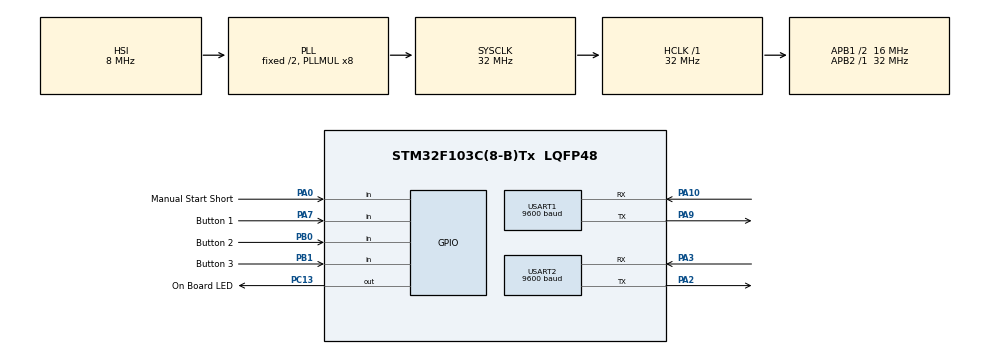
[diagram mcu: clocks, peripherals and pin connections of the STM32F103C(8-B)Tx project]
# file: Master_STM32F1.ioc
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Mcu.Family=STM32F1
Mcu.Name=STM32F103C(8-B)Tx
Mcu.Package=LQFP48
NVIC.PriorityGroup=NVIC_PRIORITYGROUP_4
NVIC.USART1_IRQn=true\:0\:0\:false\:false\:true\:true\:true
NVIC.USART2_IRQn=true\:0\:0\:false\:false\:true\:true\:true
PA0-WKUP.GPIO_Label=Manual Start Short
PA0-WKUP.GPIO_PuPd=GPIO_PULLDOWN
PA0-WKUP.Signal=GPIO_Input
PA10.Mode=Asynchronous
PA10.Signal=USART1_RX
PA13.Mode=Serial_Wire
PA13.Signal=SYS_JTMS-SWDIO
PA14.Mode=Serial_Wire
PA14.Signal=SYS_JTCK-SWCLK
PA2.Mode=Asynchronous
PA2.Signal=USART2_TX
PA3.Mode=Asynchronous
PA3.Signal=USART2_RX
PA7.GPIO_Label=Button 1
PA7.GPIO_PuPd=GPIO_PULLDOWN
PA7.Signal=GPIO_Input
PA9.Mode=Asynchronous
PA9.Signal=USART1_TX
PB0.GPIO_Label=Button 2
PB0.GPIO_PuPd=GPIO_PULLDOWN
PB0.Signal=GPIO_Input
PB1.GPIO_Label=Button 3
PB1.GPIO_PuPd=GPIO_PULLDOWN
PB1.Signal=GPIO_Input
PC13-TAMPER-RTC.GPIO_Label=On Board LED
PC13-TAMPER-RTC.Signal=GPIO_Output
ProjectManager.HeapSize=0x200
ProjectManager.StackSize=0x400
ProjectManager.TargetToolchain=STM32CubeIDE
RCC.AHBFreq_Value=32000000
RCC.APB1CLKDivider=RCC_HCLK_DIV2
RCC.APB1Freq_Value=16000000
RCC.APB1TimFreq_Value=32000000
RCC.APB2Freq_Value=32000000
RCC.APB2TimFreq_Value=32000000
RCC.HCLKFreq_Value=32000000
RCC.PLLMUL=RCC_PLL_MUL8
RCC.SYSCLKFreq_VALUE=32000000
RCC.SYSCLKSource=RCC_SYSCLKSOURCE_PLLCLK
RCC.USBFreq_Value=32000000
TIM1.Period=100
TIM1.Prescaler=32000
TIM2.Period=100
TIM2.Prescaler=32000
USART1.BaudRate=9600
USART1.VirtualMode=VM_ASYNC
USART2.BaudRate=9600
USART2.VirtualMode=VM_ASYNC
VP_TIM1_VS_ClockSourceINT.Mode=Internal
VP_TIM2_VS_ClockSourceINT.Mode=Internal
board=custom

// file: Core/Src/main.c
/* USER CODE BEGIN Header */
/**
  ******************************************************************************
  * @file           : main.c
  * @brief          : Main program body
  ******************************************************************************
  * @attention
  *
  * <h2><center>&copy; Copyright (c) 2021 STMicroelectronics.
  * All rights reserved.</center></h2>
  *
  * This software component is licensed by ST under BSD 3-Clause license,
  * the "License"; You may not use this file except in compliance with the
  * License. You may obtain a copy of the License at:
  *                        opensource.org/licenses/BSD-3-Clause
  *
  ******************************************************************************
  */
/* USER CODE END Header */
#include "main.h"

/* USER CODE BEGIN PTD */

/**
  * @brief 	Struct used for separating screen and slave module.
  */
typedef struct {
	uint8_t msg_i;						/*!< Index for received messages 				*/

	uint8_t msg_en;						/*!< Enable flag to prevent reading while busy 	*/

	uint8_t msg_flag;					/*!< Message flag to indicate a new message 	*/

	uint8_t rec_buff[MSG_MAX_LEN];		/*!< Buffer for the received message			*/

	UART_HandleTypeDef * used_huart;	/*!< Pointer to the UART struct the module uses */
}t_module;

/* USER CODE END PTD */

/* USER CODE BEGIN PD */
/** @defgroup Mode_Select Input/Output of CheckMsg() function
  * @{
  */
#define HALF 					"180\n"		/*!< String that indicates only half of the slaves must be used.	*/

#define HALF_NUM 				1			/*!< Value to indicate half of the buttons are used 			 	*/
#define FULL_NUM 				2			/*!< Value to indicate all  of the buttons are used					*/
#define MANUAL_GPIO				GPIOA		/*!< The GPIO for manual activation of the master					*/
#define MANUAL_PIN				GPIO_PIN_0	/*!< The pin for manual activation of the master					*/
/**
  * @}
  */

/** @defgroup Used_Peripherials Used Peripherals
  * @{
  */
#define SCHERM_UART 			huart1		/*!< UART  peripheral connected to the screen 				*/
#define SLAVE_UART 				huart2		/*!< UART  peripheral connected to the slaves 				*/
#define DEBUG_UART 				huart1		/*!< UART  peripheral connected to debug PC	 				*/
#define MSG_TIM 				htim1		/*!< Timer peripheral used for message timeout checking 	*/
#define LED_TIM 				htim2		/*!< Timer peripheral used for blinking LEDS non-blocking 	*/
/**
  * @}
  */

/** @defgroup Timing_Definitions Delay/Timeout times in ms
  * @{
  */
#define ACK_TIMEOUT 			1000		/*!< How long the master waits for an acknowledge from a slave 			*/
#define SCORE_DELAY 			3000		/*!< How long the master waits for clearing the score					*/
#define START_TIME 				5000		/*!< Initial time the user has to press a button						*/
#define TIME_INCREMENT 			100			/*!< How much every point of score subtracts from the total time the	\
												 user has to press the button										*/
#define NEXT_BT_TIME			500			/*!< The amount of time the master waits between each button activation */
/**
  * @}
  */

/** @defgroup LED_Commands LED Command Definitions
  * @{
  */
#define LED_BLINK 				3			/*!< The command to blink an LED 	*/
#define LED_TOGGLE 				2			/*!< The command to toggle an LED 	*/
#define LED_ON 					0			/*!< The command to turn on an LED	*/
#define LED_OFF 				1			/*!< The command to turn off an LED */
/**
  * @}
  */

/** @defgroup Buffer_Indexes Buffer Indexes for m_buff
  * @{
  */
#define SCHERM_I 				0			/*!< The index for the screen module */
#define SLAVE_I 				1			/*!< The index for the slave module  */
/**
  * @}
  */

/** @defgroup LED_Pin_Definitions LED Pin Definitions
  * @{
  */
#define BLUE_LED 				((uint16_t)0x2000)	/*!< The blue LED pin */
/**
  * @}
  */

/**
 * @enum state_t
 * @brief The various states that the master module can be in.
 *
 */
enum state_t {
	STATE_STR,			/**< Start State				*/
	STATE_ADR,			/**< Addressing State 			*/
	STATE_CHS,			/**< Choosing State			  	*/
	STATE_CTR,			/**< Control and Verify State 	*/
	STATE_ERR,			/**< Error State 				*/
	STATE_END,			/**< Ending State				*/
};

#ifdef DEBUG_UART
#define debug			/*!< Debug enable */
#endif
/* USER CODE END PD */

TIM_HandleTypeDef htim1;
TIM_HandleTypeDef htim2;

UART_HandleTypeDef huart1;
UART_HandleTypeDef huart2;

void SystemClock_Config(void);
static void MX_GPIO_Init(void);
static void MX_USART1_UART_Init(void);
static void MX_USART2_UART_Init(void);
static void MX_TIM1_Init(void);
static void MX_TIM2_Init(void);
/* USER CODE BEGIN PFP */
char CheckTimeout(const char * valid_ans, int timeout);
char SendMessage(const char * msg);
char SendCommand(const char * cmd, const char * ans, int timeout);
void SetLed(uint16_t led_pin, uint8_t state);
char CheckMsg();
char IsAlphaNum(char c);
/* USER CODE END PFP */

/* USER CODE BEGIN 0 */
#ifdef debug
uint8_t tx_debug[12];	// Used only for debugging
#endif

/** @brief rx_buff contains the incoming char */
uint8_t rx_buff[1];
/** @brief blink_pin tells LED timer which pin to turn off */
uint16_t blink_pin;
/** @brief m_buff are the two buffers for screen/slave message handling*/
t_module m_buff[2];

/* USER CODE END 0 */

int main(void)
{

  /* MCU Configuration--------------------------------------------------------*/

  /* Reset of all peripherals, Initializes the Flash interface and the Systick. */
  HAL_Init();

  /* Configure the system clock */
  SystemClock_Config();

  /* Initialize all configured peripherals */
  MX_GPIO_Init();
  MX_USART1_UART_Init();
  MX_USART2_UART_Init();
  MX_TIM1_Init();
  MX_TIM2_Init();
  /* USER CODE BEGIN 2 */
#ifdef DEBUG_UART
#if DEBUG_UART != SCHERM_UART
  HAL_UART_Receive_IT(&DEBUG_UART, rx_buff, 1);
#endif
#endif
  HAL_UART_Receive_IT(&SLAVE_UART, 	rx_buff, 1);
  HAL_UART_Receive_IT(&SCHERM_UART, rx_buff, 1);
  HAL_TIM_Base_Start_IT(&LED_TIM);

  m_buff[SCHERM_I].used_huart = &SCHERM_UART;
  m_buff[SLAVE_I].used_huart  = &SLAVE_UART;

  uint8_t prev_btn		= 0;
  uint8_t no_slaves  	= 0;
  enum state_t state	= STATE_STR;
  uint16_t mode 	 	= FULL_NUM;
  uint8_t score 	 	= 0;
  uint8_t chosen_button = 0;
  char buf[12];
  /**   <h2><center> Supported Commands </h2></center>
   	*   <h3>Addressing</h3>
   	*   Format: 	 <tt>0 ADR 1</tt>\n
   	*   Definitions: @c 0 sends to @b all slaves. @c ADR is the addressing command. @c 1 is the first address.\n\n
   	*   Used to give every slave a specific address down the chain.\n
   	*
   	*   <h3>Turning On Slaves</h3>
   	*   Format: 	 <tt>0 ON adr</tt>\n
   	*   Definitions: @c 0 sends to @b all slaves. @c ON is the turn on command. @c adr specifies which button is correct.\n\n
   	*   This turns on the buttons of all slaves. Only the @c adr slave will have their buzzer ring.\n
   	*
   	*   <h3>Turning Off Slaves</h3>
   	*   Format:		 <tt>0 OFF</tt>\n
   	*   Definitions: @c 0 sends to @b all slaves. @c OFF is the turn off command.\n\n
   	*   			 This command turns off all slaves, used @b AFTER the ON command.\n
   	*   			 In reality, the slaves don't listen to the specific message, any message will do to turn them off.\n
   	*   			 This is to prevent a missed "off" command to put the slave in blocking mode.\n
   	*   			 The alternative would have been to set a timer in the slave to quit.\n
   	*   			 This however decreases the amount of control the master could have over the slaves.\n
   	*   			 This compromise had to be made, so that the master is still in control.\n
   	*
   	*   <h3>Verify Connection</h3>
   	*   Format:		 <tt>adr ASK</tt>\n
   	*   Definitions: @c adr specifies which slave to send the command to. @c ASK is the command.\n\n
   	*   			 This command asks a specific slave to reply with an answer.\n
   	*   			 This is used to verify the slave is still connected.\n
   	*   			 \n\n
   	*
   	*   @attention	 <center><b>New commands have a max length of 3 characters. This can be changed in the slave code.</b></center>
   	*
    */

  //Needs a seed that differs each startup
  //Not as important, as the MCU won't be reset every time a person plays.
  //When the device loses and regains power however, the button sequence will always be the same
  srand(1);

  /* USER CODE END 2 */

  /* Infinite loop */
  while (1)
  {

    /* USER CODE BEGIN 3 */
	switch(state)
	  {
	  /**  <h3>Start State</h3>
	    *  @brief Reads incoming messages from the screen module.
	    *  		  Will switch to addressing state if message is received.
	    *  		  Mode will indicate if full range of buttons is to be used or only half.
	    *  		  Added a way to start the game by pushing the buttons.
	    */
	  case STATE_STR:
		m_buff[SCHERM_I].msg_en = 1;
		mode = CheckMsg();
		if(SendCommand( "0 ON -1\n", "PRESSED", 1000))
			mode = FULL_NUM;
		if(mode != 0)
		{
			state = STATE_ADR;
			m_buff[SCHERM_I].msg_en   = 0;
			m_buff[SCHERM_I].msg_flag = 0;
			SendMessage("0 OFF\n");
			HAL_Delay(NEXT_BT_TIME);
		}
		break;
	  /**  <h3>Addressing State</h3>
		*  @brief Will send a command to give an adress to each slave.
		*  		  If received "slave" back addressing successful.
		*  		  State will move to Choose if successful, Start if failed.
		*/
	  case STATE_ADR:
		if(SendCommand("0 ADR 1\n","SLAVE", ACK_TIMEOUT*2))
		{
			no_slaves = atoi( (char*) &m_buff[SLAVE_I].rec_buff[6]);
			state = STATE_CHS;
		}
		else
			state = STATE_STR;
		break;
	  /**  <h3>Choosing State</h3>
		*  @brief Will choose a random button based on mode.
		*  		  Mode was set by start state earlier.
		*  		  Has a check to make sure there won't be a div/0 error.
		*  		  Next state will be control or start depending on number of slaves.
		*/
	  case STATE_CHS:
		sprintf(buf, "SCORE =%d\r\n", score);
		HAL_UART_Transmit(&SCHERM_UART, (uint8_t *) buf, strlen( (char *) buf), 100);
		if(no_slaves)
		{
			// The +1 makes sure 0 is never a chosen button. Slaves start from address 1.
			// This can be made into a define, if there exists a desire to start from slave 2.
			// In case only one slave connected, then that slave is chosen.
			if(no_slaves == 1 && mode == HALF_NUM)
				chosen_button = 1;
			else
			{
				do
				{
					chosen_button = ( rand() % (mode == FULL_NUM ? no_slaves : no_slaves >> 1))+1;
				}
				while(chosen_button == prev_btn && no_slaves > 1);
				prev_btn = chosen_button;
			}
			state = STATE_CTR;
		}
		else
			state = STATE_STR;
		break;
	  /**  <h3>Control & Verify State</h3>
		*  @brief Controls the chosen button from Choose State.
		*  		  Sends out a message for all buttons to turn on.
		*  		  Specifies the address of chosen button to turn on its speakers.
		*		  Reads which button is pressed, or if a timeout occurred.
		*		  If the correct button is pressed, will choose a new button (state choose).
		*		  If the button was incorrect, will end the game (state end).
		*		  If no button was pressed in time, will verify connection (state error).
		*/
	  case STATE_CTR:
		sprintf(buf, "0 ON %d\n", chosen_button);
		if(SendCommand(buf, "PRESSED", START_TIME - ( score * TIME_INCREMENT) ) )
		{
			// The reply is PRESSED n, so to read the received number the 8th byte will be read.
			// P|R|E|S|S|E|D| |n
			// 0|1|2|3|4|5|6|7|8
			if(atoi( (char *) &m_buff[SLAVE_I].rec_buff[8]) == chosen_button)
			{
				state = STATE_CHS;
				score++;
			}
			else
				state = STATE_END;
		}
		else
			state = STATE_ERR;

		SendMessage("0 OFF\n");
		HAL_Delay(NEXT_BT_TIME);
		break;
	  /**  <h3>Error State</h3>
		*  @brief Error state will verify communication works with the chosen slave.
		*  		  If the slave does not answer to this check, an LED will indicate an error.
		*  		  No matter the result of the Comm test, the next state will always be END.
		*/
	  case STATE_ERR:

		sprintf(buf, "%d ASK\n", chosen_button);
		if(SendCommand(buf, "ANS", ACK_TIMEOUT*2))
		{
			// The answer is ANS n, so to read the received number the 4th byte will be used.
			// A|N|S| |n
			// 0|1|2|3|4
			if(atoi( (char *) &m_buff[SLAVE_I].rec_buff[4] ) == chosen_button)
				SetLed(BLUE_LED, LED_OFF);
		}
		else
			SetLed(BLUE_LED, LED_ON);
		state = STATE_END;
		break;
	  /**  <h3>End State</h3>
		*  @brief The final state of the program.
		*  		  Will display the score once and then reset it, along with the screen.
		*  		  Next state will be returning to start.
		*/
	  case STATE_END:
		sprintf(buf, "SCORE = %d\r\n", score);
		HAL_UART_Transmit(&SCHERM_UART, (uint8_t *) buf, strlen( (char *) buf), 100);
		HAL_DELAY(SCORE_DELAY);

#ifdef debug
	sprintf(buf, "Score = %d\n", score);
	HAL_UART_Transmit(&DEBUG_UART, (uint8_t *)"Klaar met uitvoering.\r\n", 23, 100);
	HAL_UART_Transmit(&DEBUG_UART, (uint8_t *)buf, strlen((char*)buf), 100);
#endif

		HAL_UART_Transmit(&SCHERM_UART, (uint8_t *) "MENU\r\n", 6, 100);
		score = 0;
		state = STATE_STR;
		break;

	  default:
		state = STATE_STR;
	  }
	}
  /* USER CODE END 3 */
}

void SystemClock_Config(void)
{
  RCC_OscInitTypeDef RCC_OscInitStruct = {0};
  RCC_ClkInitTypeDef RCC_ClkInitStruct = {0};

  /** Initializes the RCC Oscillators according to the specified parameters
  * in the RCC_OscInitTypeDef structure.
  */
  RCC_OscInitStruct.OscillatorType = RCC_OSCILLATORTYPE_HSI;
  RCC_OscInitStruct.HSIState = RCC_HSI_ON;
  RCC_OscInitStruct.HSICalibrationValue = RCC_HSICALIBRATION_DEFAULT;
  RCC_OscInitStruct.PLL.PLLState = RCC_PLL_ON;
  RCC_OscInitStruct.PLL.PLLSource = RCC_PLLSOURCE_HSI_DIV2;
  RCC_OscInitStruct.PLL.PLLMUL = RCC_PLL_MUL8;
  if (HAL_RCC_OscConfig(&RCC_OscInitStruct) != HAL_OK)
  {
    Error_Handler();
  }
  /** Initializes the CPU, AHB and APB buses clocks
  */
  RCC_ClkInitStruct.ClockType = RCC_CLOCKTYPE_HCLK|RCC_CLOCKTYPE_SYSCLK
                              |RCC_CLOCKTYPE_PCLK1|RCC_CLOCKTYPE_PCLK2;
  RCC_ClkInitStruct.SYSCLKSource = RCC_SYSCLKSOURCE_PLLCLK;
  RCC_ClkInitStruct.AHBCLKDivider = RCC_SYSCLK_DIV1;
  RCC_ClkInitStruct.APB1CLKDivider = RCC_HCLK_DIV2;
  RCC_ClkInitStruct.APB2CLKDivider = RCC_HCLK_DIV1;

  if (HAL_RCC_ClockConfig(&RCC_ClkInitStruct, FLASH_LATENCY_1) != HAL_OK)
  {
    Error_Handler();
  }
}

static void MX_TIM1_Init(void)
{

  TIM_ClockConfigTypeDef sClockSourceConfig = {0};
  TIM_MasterConfigTypeDef sMasterConfig = {0};

  htim1.Instance = TIM1;
  htim1.Init.Prescaler = 32000;
  htim1.Init.CounterMode = TIM_COUNTERMODE_UP;
  htim1.Init.Period = 100;
  htim1.Init.ClockDivision = TIM_CLOCKDIVISION_DIV1;
  htim1.Init.RepetitionCounter = 0;
  htim1.Init.AutoReloadPreload = TIM_AUTORELOAD_PRELOAD_DISABLE;
  if (HAL_TIM_Base_Init(&htim1) != HAL_OK)
  {
    Error_Handler();
  }
  sClockSourceConfig.ClockSource = TIM_CLOCKSOURCE_INTERNAL;
  if (HAL_TIM_ConfigClockSource(&htim1, &sClockSourceConfig) != HAL_OK)
  {
    Error_Handler();
  }
  sMasterConfig.MasterOutputTrigger = TIM_TRGO_RESET;
  sMasterConfig.MasterSlaveMode = TIM_MASTERSLAVEMODE_DISABLE;
  if (HAL_TIMEx_MasterConfigSynchronization(&htim1, &sMasterConfig) != HAL_OK)
  {
    Error_Handler();
  }

}

static void MX_TIM2_Init(void)
{

  TIM_ClockConfigTypeDef sClockSourceConfig = {0};
  TIM_MasterConfigTypeDef sMasterConfig = {0};

  htim2.Instance = TIM2;
  htim2.Init.Prescaler = 32000;
  htim2.Init.CounterMode = TIM_COUNTERMODE_UP;
  htim2.Init.Period = 100;
  htim2.Init.ClockDivision = TIM_CLOCKDIVISION_DIV1;
  htim2.Init.AutoReloadPreload = TIM_AUTORELOAD_PRELOAD_DISABLE;
  if (HAL_TIM_Base_Init(&htim2) != HAL_OK)
  {
    Error_Handler();
  }
  sClockSourceConfig.ClockSource = TIM_CLOCKSOURCE_INTERNAL;
  if (HAL_TIM_ConfigClockSource(&htim2, &sClockSourceConfig) != HAL_OK)
  {
    Error_Handler();
  }
  sMasterConfig.MasterOutputTrigger = TIM_TRGO_RESET;
  sMasterConfig.MasterSlaveMode = TIM_MASTERSLAVEMODE_DISABLE;
  if (HAL_TIMEx_MasterConfigSynchronization(&htim2, &sMasterConfig) != HAL_OK)
  {
    Error_Handler();
  }

}

static void MX_USART1_UART_Init(void)
{

  huart1.Instance = USART1;
  huart1.Init.BaudRate = 9600;
  huart1.Init.WordLength = UART_WORDLENGTH_8B;
  huart1.Init.StopBits = UART_STOPBITS_1;
  huart1.Init.Parity = UART_PARITY_NONE;
  huart1.Init.Mode = UART_MODE_TX_RX;
  huart1.Init.HwFlowCtl = UART_HWCONTROL_NONE;
  huart1.Init.OverSampling = UART_OVERSAMPLING_16;
  if (HAL_UART_Init(&huart1) != HAL_OK)
  {
    Error_Handler();
  }

}

static void MX_USART2_UART_Init(void)
{

  huart2.Instance = USART2;
  huart2.Init.BaudRate = 9600;
  huart2.Init.WordLength = UART_WORDLENGTH_8B;
  huart2.Init.StopBits = UART_STOPBITS_1;
  huart2.Init.Parity = UART_PARITY_NONE;
  huart2.Init.Mode = UART_MODE_TX_RX;
  huart2.Init.HwFlowCtl = UART_HWCONTROL_NONE;
  huart2.Init.OverSampling = UART_OVERSAMPLING_16;
  if (HAL_UART_Init(&huart2) != HAL_OK)
  {
    Error_Handler();
  }

}

static void MX_GPIO_Init(void)
{
  GPIO_InitTypeDef GPIO_InitStruct = {0};

  /* GPIO Ports Clock Enable */
  __HAL_RCC_GPIOC_CLK_ENABLE();
  __HAL_RCC_GPIOA_CLK_ENABLE();
  __HAL_RCC_GPIOB_CLK_ENABLE();

  /*Configure GPIO pin Output Level */
  HAL_GPIO_WritePin(On_Board_LED_GPIO_Port, On_Board_LED_Pin, GPIO_PIN_RESET);

  /*Configure GPIO pin : On_Board_LED_Pin */
  GPIO_InitStruct.Pin = On_Board_LED_Pin;
  GPIO_InitStruct.Mode = GPIO_MODE_OUTPUT_PP;
  GPIO_InitStruct.Pull = GPIO_NOPULL;
  GPIO_InitStruct.Speed = GPIO_SPEED_FREQ_LOW;
  HAL_GPIO_Init(On_Board_LED_GPIO_Port, &GPIO_InitStruct);

  /*Configure GPIO pins : Manual_Start_Short_Pin Button_1_Pin */
  GPIO_InitStruct.Pin = Manual_Start_Short_Pin|Button_1_Pin;
  GPIO_InitStruct.Mode = GPIO_MODE_INPUT;
  GPIO_InitStruct.Pull = GPIO_PULLDOWN;
  HAL_GPIO_Init(GPIOA, &GPIO_InitStruct);

  /*Configure GPIO pins : Button_2_Pin Button_3_Pin */
  GPIO_InitStruct.Pin = Button_2_Pin|Button_3_Pin;
  GPIO_InitStruct.Mode = GPIO_MODE_INPUT;
  GPIO_InitStruct.Pull = GPIO_PULLDOWN;
  HAL_GPIO_Init(GPIOB, &GPIO_InitStruct);

}

/* USER CODE BEGIN 4 */

/**
 * @fn void HAL_UART_RxCpltCallback(UART_HandleTypeDef*)
 * @brief Called when a character is received from a uart.
 * 		  This char is stored as an array of rx_buff, with an index of 1.
 * 		  Will put the char in the correct buffer and check if the message is complete.
 * 		  Will reactivate the uart after char is handled.
 * @pre	  UARTS are turned on and waiting for interrupt.
 * @post  Char is stored and UART called under interrupt again.
 * @param huart The huart that called the callback
 */
void HAL_UART_RxCpltCallback(UART_HandleTypeDef *huart)
{
	// Selects the correct module struct to copy the char into.
	// This is marked by "ix" which is index.
	uint8_t ix;
	if(		huart == m_buff[SCHERM_I].used_huart)
		ix = SCHERM_I;

	else if(huart == m_buff[SLAVE_I].used_huart)
		ix = SLAVE_I;

	else
	{
		HAL_UART_Receive_IT(huart, rx_buff, 1);
		return;
	}

	// Master has defined answers its looking for
	// Only listens to the message if a command has been sent
	// Also discards any chars that aren't allowed
	if(m_buff[ix].msg_en == 0 || IsAlphaNum(rx_buff[0]) == 0)
	{
		HAL_UART_Receive_IT(huart, rx_buff, 1);
		return;
	}

	// Used when message is out of sync with buffer
	static uint8_t OOS_check = 0;
	if(OOS_check)
	{
		if(rx_buff[0] == '\n')
			OOS_check = 0;
	}

	// Places new byte into global array
	else if(m_buff[ix].msg_i < MSG_MAX_LEN)
	{
		// Once a new message has started, delete the old message
		if(m_buff[ix].msg_i == 0)
			memset(m_buff[ix].rec_buff, 0, sizeof(m_buff[ix].rec_buff));

		// Comm blink
    	SetLed(BLUE_LED, LED_BLINK);

    	// Coppies char into local buffer
    	m_buff[ix].rec_buff[m_buff[ix].msg_i] = rx_buff[0];

    	// Checks if message is finished
    	if(rx_buff[0] == '\n')
		{
    		// Will send an Acknowledge to the slave
    		// Not necessary, as the slave can't do anything if the connection with the master is broken.
			if(huart == &SLAVE_UART && strcmp("ACK\n", (char *) m_buff[ix].rec_buff) != 0)
				HAL_UART_Transmit(&SLAVE_UART, (uint8_t *) "ACK\n", 4, 100);
			m_buff[ix].msg_i 	= 0;
			m_buff[ix].msg_flag = 1;
		}
		else
		{
			m_buff[ix].msg_i++;
		}
	}

	// Exception clause for handling messages larger than the dedicated buffer
	// Message will be discarded and the buffer won't be read
	else
	{
		m_buff[ix].msg_i = 0;
		if(rx_buff[0] != '\n')
			OOS_check = 1;
	}

	// Reads the next byte
	HAL_UART_Receive_IT(huart, rx_buff, 1);
}

/**
 * @fn char CheckTimeout(const char*, int)
 * @brief	Function will be called when a message is expected.
 * 			Used to verify the answer received from the slave module.
 * 			Also uses a timer to check for a timeout.
 *
 * @pre		Message has been sent that requires a reply.
 * @post	Answer has been received and verified.
 * @param valid_ans The expected answer for the slave module.
 * @param timeout 	The time the slave has to give an answer. Uses increments of 100ms.
 * @return  Returns a non-zero character if correct message arrived in time.
 * 			Returns zero if the message was incorrect or it didn't arrive in time.
 */
char CheckTimeout(const char * valid_ans, int timeout)
{
	m_buff[SLAVE_I].msg_en = 1;		// Allows communication to the master

	// Keeps a count of how many times the timer updated
	// This happens every 100ms and is defined by MSG_TIM settings
	int tim_cnt = 0;

	// Starts the timer for the timeout function.
	// Clears flag as a precaution
	HAL_TIM_Base_Start(&MSG_TIM);
	__HAL_TIM_CLEAR_FLAG(&MSG_TIM, TIM_FLAG_UPDATE);

	// When a message has been received "msg_flag" will be 1
	// This loop will count for "timeout" milliseconds
	while(m_buff[SLAVE_I].msg_flag == 0 && tim_cnt < (int)((float)timeout/100))
	{
		if(__HAL_TIM_GET_FLAG(&MSG_TIM, TIM_FLAG_UPDATE))
		{
			tim_cnt++;
			__HAL_TIM_CLEAR_FLAG(&MSG_TIM, TIM_FLAG_UPDATE);
		}
	}

	// Stops the timer and resets the counter
	HAL_TIM_Base_Stop(&MSG_TIM);
	__HAL_TIM_SET_COUNTER(&MSG_TIM, 0);

	// Disables any other incoming messages
	m_buff[SLAVE_I].msg_en = 0;

	// Reads the incoming message (if received), and compares it to the expected answer
	if(m_buff[SLAVE_I].msg_flag)
	{
		m_buff[SLAVE_I].msg_flag = 0;
#ifdef debug
		HAL_UART_Transmit(&DEBUG_UART, (uint8_t *) "Received: ", 10, 100);
		HAL_UART_Transmit(&DEBUG_UART, (uint8_t *) m_buff[SLAVE_I].rec_buff, strlen( (char *) m_buff[SLAVE_I].rec_buff), 100);
#endif
		// Some commands expect an unknown number (i.e. how many slaves are active)
		// So this command only checks if the received message CONTAINS the correct answer.
		// To make sure it checks the message verbatim, add a \n to the end of the expected answer.
		if(strstr( (char * ) m_buff[SLAVE_I].rec_buff, valid_ans) != NULL)
			return 1;
#ifdef debug
		else
			HAL_UART_Transmit(&DEBUG_UART, (uint8_t *) "Wrong Answer\n", 13, 100);
#endif
	}
#ifdef debug
	else
		HAL_UART_Transmit(&DEBUG_UART, (uint8_t *) "Timeout\n", 8, 100);
#endif

	// if the earlier return statement didn't fire, return 0, indicating either a timeout or a wrong answer
	return 0;

}

/**
 * @fn char SendMessage(const char*)
 * @brief 		Sends a message to the slaves and waits for an acknowledge.
 *
 * @pre 		none
 * @post 		Message has been sent
 * @param msg	The string to send to the slaves
 * @return		Returns 1 if acknowledge was received, else 0.
 */
char SendMessage(const char * msg)
{
#ifdef debug
	HAL_UART_Transmit(&DEBUG_UART, (uint8_t *) "Sent: " , 6			 , 100);
	HAL_UART_Transmit(&DEBUG_UART, (uint8_t *) msg	 	, strlen(msg), 100);
	strcpy( (char *) tx_debug, (char *) msg);
#else
	HAL_Delay(25);
#endif
	// Communication LED
	SetLed(BLUE_LED, LED_BLINK);

	// Every message sent to slaves requires "ACK\n" as an answer.
	HAL_UART_Transmit(&SLAVE_UART, (uint8_t *) msg, strlen(msg), 100);
	return (CheckTimeout("ACK\n", ACK_TIMEOUT) );
}

/**
 * @fn char SendCommand(const char*, const char*, int)
 * @brief 	Expanded version of the SendMessage command.
 * 			This command calls SendMessage and if that succeeded calls CheckTimout.
 * 			The user inputs what command they want to send, what answer they expect and how long to wait for a timeout.
 *
 * @pre 	none
 * @post 	Messages are sent to slaves.
 * @param cmd	The string for the command to send to the slaves.
 * @param ans	The string for the expected answer from the slaves.
 * @param timeout	How long the process will wait for the expected answer.
 * @return  1 if success, 0 if failed.
 */
char SendCommand(const char * cmd, const char * ans, int timeout)
{
	if(SendMessage(cmd) )
		if(CheckTimeout(ans, timeout) )
			return 1;
	return 0;
}

/**
 * @fn void SetLed(uint16_t, uint8_t)
 * @brief Used to control the LEDs using global defines.
 * 		  Mostly useful for the blinking functionality.
 * 		  This activates a timer that will turn the LED off after 100ms.
 * 		  This makes it so LEDs can blink without halting the execution of the program.
 *
 * @pre   none
 * @post  LED state changed
 * @param led_pin Which pin to toggle (Should use a define as input)
 * @param state What state the LED should be. On/Off/Toggle or Blink
 */
void SetLed(uint16_t led_pin, uint8_t state)
{
	switch(state)
	{
	case LED_TOGGLE:
		HAL_GPIO_TogglePin(LED_GPIO, led_pin);
		break;

	case LED_ON:
    	HAL_GPIO_WritePin(LED_GPIO, led_pin, GPIO_PIN_SET);
    	break;

	case LED_OFF:
    	HAL_GPIO_WritePin(LED_GPIO, led_pin, GPIO_PIN_RESET);
    	break;

	case LED_BLINK:
		HAL_GPIO_WritePin(LED_GPIO, led_pin, GPIO_PIN_SET);

		blink_pin = led_pin;
		__HAL_RCC_TIM2_CLK_ENABLE();
		HAL_TIM_Base_Start_IT(&LED_TIM);
		__HAL_TIM_SET_COUNTER(&LED_TIM, 0);
		break;

	default:
		break;
	}
}

/**
 * @fn char CheckMsg()
 * @brief  	Checks if the screen sent a message. Also checks if a manual pin has been pulled down.
 *			Will activate the mastermodule's protocol.
 * @pre 	The screen UART has to be turned on
 * @post 	none
 * @return  HALF_NUM if the message was "180\n", FULL_NUM in every other case.
 */
char CheckMsg()
{
	if(HAL_GPIO_ReadPin(MANUAL_GPIO, MANUAL_PIN) == GPIO_PIN_SET)
		return(FULL_NUM);

	else if(m_buff[SCHERM_I].msg_flag == 0)
		return(0);

	if(strcmp( (char *) m_buff[SCHERM_I].rec_buff, HALF) == 0)
		return(HALF_NUM);
	else
		return(FULL_NUM);
}

/**
 * @brief Checks if character is a letter or a number or \n.
 * @param c Char to be checked
 * @return non-zero if char is alphanumerical or \n
 */
char IsAlphaNum(char c)
{
	if(c == '\n')
		return 1;
	if(c == ' ')
		return 1;
	if(c >= 'A' && c <= 'Z')
		return 1;
	if(c >= 'a' && c <= 'z')
		return 1;
	if(c >= '0' && c <= '9')
		return 1;
	else
		return 0;
}
/* USER CODE END 4 */

void Error_Handler(void)
{
  /* USER CODE BEGIN Error_Handler_Debug */
  /* User can add his own implementation to report the HAL error return state */
  __disable_irq();
  while (1)
  {
	  HAL_GPIO_TogglePin(LED_GPIO, BLUE_LED);
	  HAL_Delay(750);
  }
  /* USER CODE END Error_Handler_Debug */
}

/************************ (C) COPYRIGHT STMicroelectronics *****END OF FILE****/
